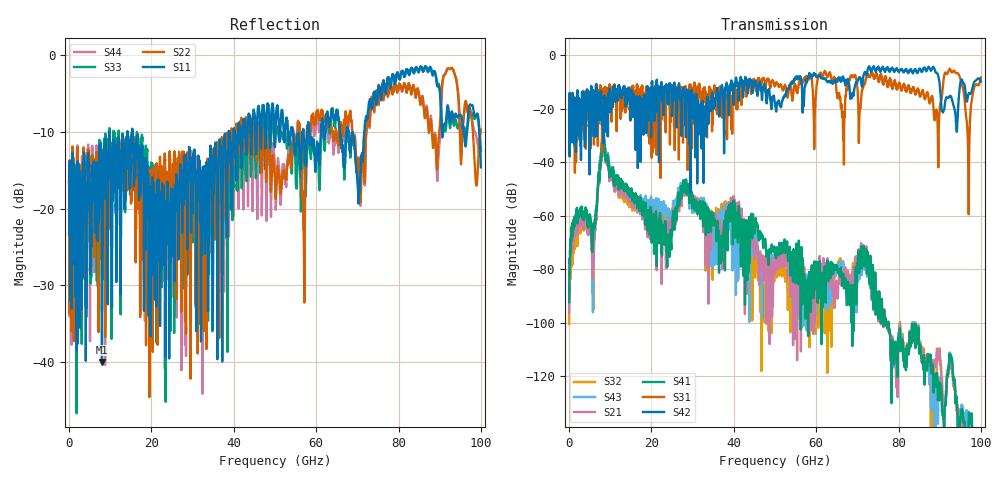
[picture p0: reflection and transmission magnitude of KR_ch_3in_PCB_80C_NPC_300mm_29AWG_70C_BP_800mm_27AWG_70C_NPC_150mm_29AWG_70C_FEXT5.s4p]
# Hz S RI R 45
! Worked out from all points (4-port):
!   4000 points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, 25 MHz to 100 GHz, reference 45 ohm
!   strongest paths, dB at 25 MHz, 25.02 GHz, 50.02 GHz, 75.03 GHz, 100 GHz:
!     S42: -20.7, -20.7, -18.8, -4.2, -9.7
!     S31: -20.7, -12.3, -11.1, -8.6, -8.3
!     S41: -92.4, -65.6, -74.6, -93.0, -158.6
!     S21: -96.5, -60.9, -74.7, -93.3, -168.9
!     S43: -94.9, -59.4, -79.9, -92.9, -169.1
!     S32: -100.6, -62.6, -79.5, -93.3, -177.3
!   lowest |S11| = -40.1 dB at 8 GHz (marker M1), VSWR 1.02, Z = 44.2 + j0.456 ohm
!   |S11| at or under -10 dB: start of sweep to 9.8 GHz; 9.801 GHz to 14.2 GHz (4.397 GHz wide, 36.6 % of centre); 15.36 GHz to 38.77 GHz (23.41 GHz wide, 86.5 % of centre)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
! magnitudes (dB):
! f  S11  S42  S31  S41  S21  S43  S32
! 25 MHz  -16.6  -20.7  -20.7  -92.4  -96.5  -94.9  -100.6
! 5.925 GHz  -14.1  -15.4  -15.0  -65.6  -72.7  -72.3  -95.2
! 8 GHz  -40.1  -25.6  -33.5  -32.8  -34.2  -31.3  -32.6
! 24.05 GHz  -21.6  -14.8  -13.2  -68.6  -65.9  -57.5  -61.4
! 28.05 GHz  -14.7  -15.9  -13.7  -50.3  -51.8  -49.5  -50.9
! 46.25 GHz  -7.5  -10.1  -9.2  -68.3  -80.7  -75.0  -83.4
! 100 GHz  -14.6  -9.7  -8.3  -158.6  -168.9  -169.1  -177.3
